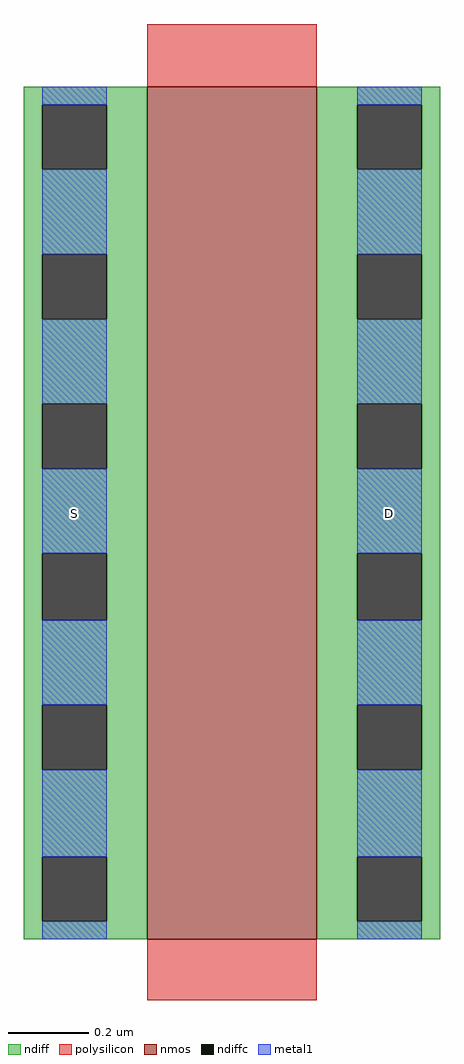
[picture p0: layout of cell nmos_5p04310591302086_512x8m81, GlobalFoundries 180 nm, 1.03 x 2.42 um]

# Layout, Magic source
magic
tech gf180mcuD
magscale 1 10
<< nmos >>
rect 0 0 84 422
<< ndiff >>
rect -61 413 0 422
rect -61 381 -52 413
rect -20 381 0 413
rect -61 339 0 381
rect -61 307 -52 339
rect -20 307 0 339
rect -61 265 0 307
rect -61 233 -52 265
rect -20 233 0 265
rect -61 191 0 233
rect -61 158 -52 191
rect -20 158 0 191
rect -61 116 0 158
rect -61 84 -52 116
rect -20 84 0 116
rect -61 41 0 84
rect -61 9 -52 41
rect -20 9 0 41
rect -61 0 0 9
rect 84 413 145 422
rect 84 381 104 413
rect 136 381 145 413
rect 84 339 145 381
rect 84 307 104 339
rect 136 307 145 339
rect 84 265 145 307
rect 84 233 104 265
rect 136 233 145 265
rect 84 191 145 233
rect 84 158 104 191
rect 136 158 145 191
rect 84 116 145 158
rect 84 84 104 116
rect 136 84 145 116
rect 84 41 145 84
rect 84 9 104 41
rect 136 9 145 41
rect 84 0 145 9
<< ndiffc >>
rect -52 381 -20 413
rect -52 307 -20 339
rect -52 233 -20 265
rect -52 158 -20 191
rect -52 84 -20 116
rect -52 9 -20 41
rect 104 381 136 413
rect 104 307 136 339
rect 104 233 136 265
rect 104 158 136 191
rect 104 84 136 116
rect 104 9 136 41
<< polysilicon >>
rect 0 422 84 453
rect 0 -30 84 0
<< metal1 >>
rect -52 413 -20 422
rect -52 339 -20 381
rect -52 265 -20 307
rect -52 191 -20 233
rect -52 116 -20 158
rect -52 41 -20 84
rect -52 0 -20 9
rect 104 413 136 422
rect 104 339 136 381
rect 104 265 136 307
rect 104 191 136 233
rect 104 116 136 158
rect 104 41 136 84
rect 104 0 136 9
<< labels >>
flabel metal1 -36 211 -36 211 0 FreeSans 140 0 0 0 S
flabel metal1 120 211 120 211 0 FreeSans 140 0 0 0 D
<< end >>
